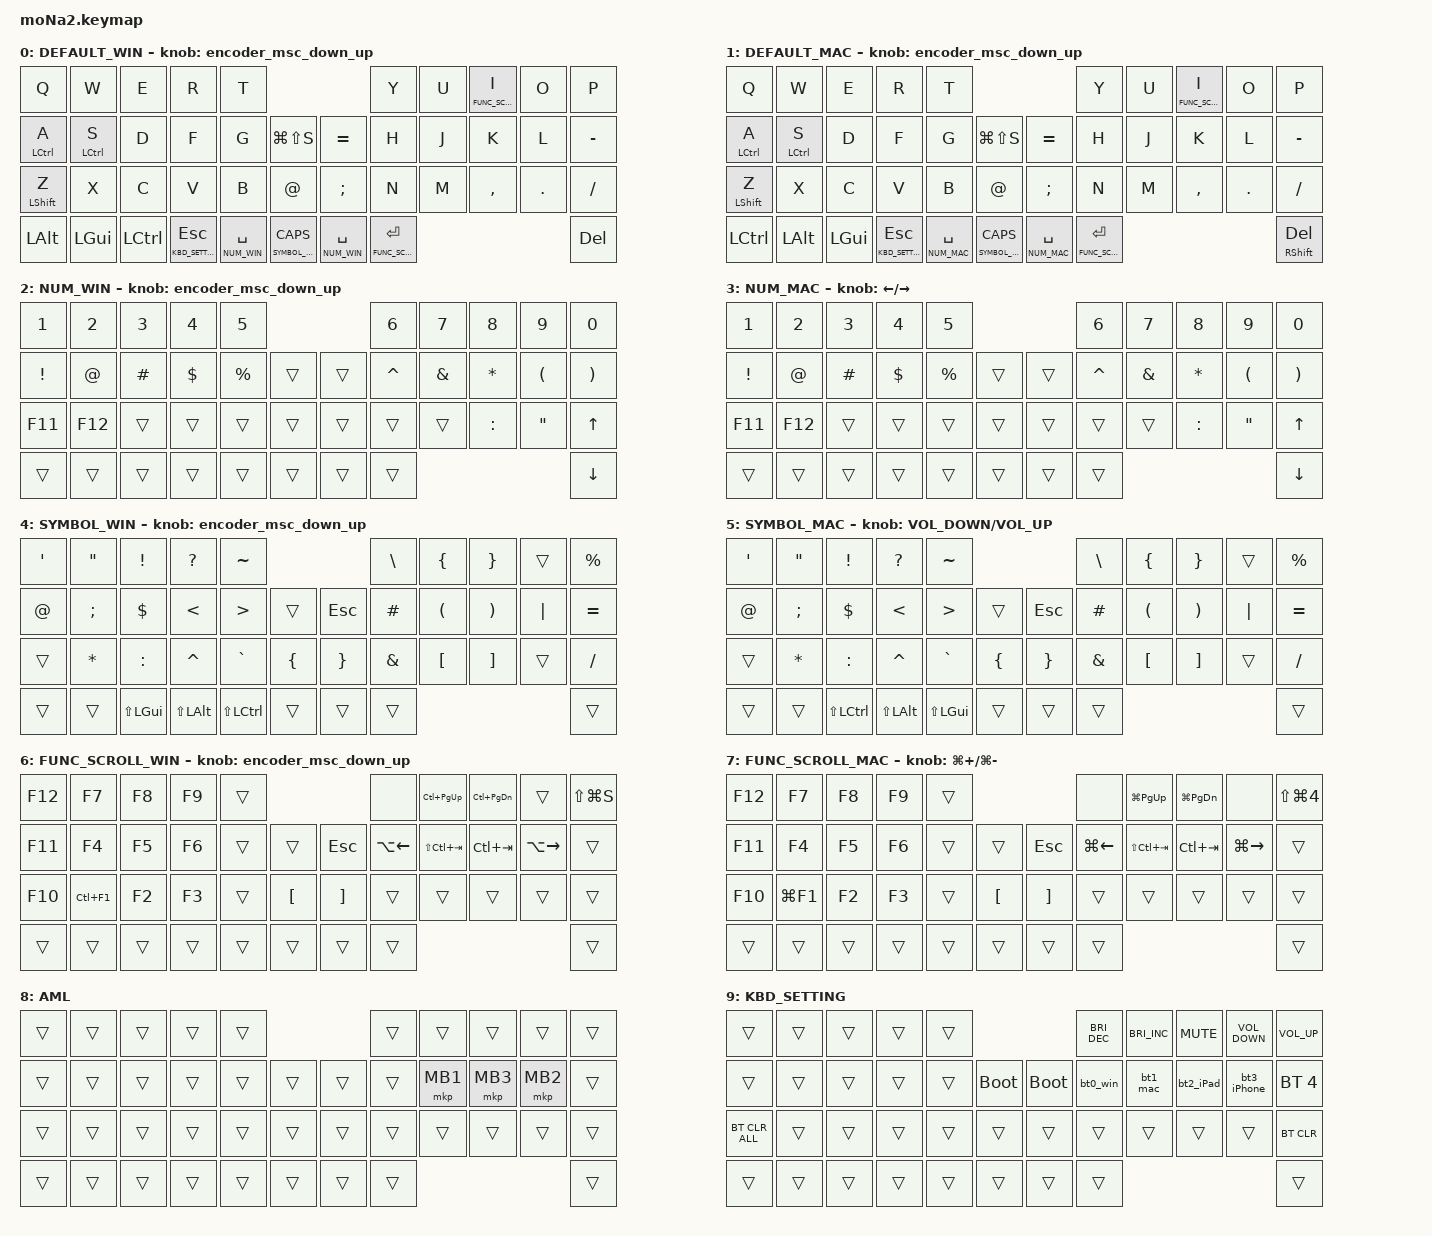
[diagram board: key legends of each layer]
#include <behaviors.dtsi>
#include <dt-bindings/zmk/bt.h>
#include <dt-bindings/zmk/keys.h>
#include <dt-bindings/zmk/pointing.h>

#define DEFAULT_WIN 0
#define DEFAULT_MAC 1
#define NUM_WIN 2
#define NUM_MAC 3
#define SYMBOL_WIN 4
#define SYMBOL_MAC 5
#define FUNC_SCROLL_WIN 6
#define FUNC_SCROLL_MAC 7
#define AML 8
#define KBD_SETTING 9

// Trackball settings
#define ZMK_POINTING_DEFAULT_SCRL_VAL 120

// Mouse behavior settings
&mmv {
    delay-ms = <20>;
    trigger-period-ms = <5>;
    time-to-max-speed-ms = <200>;
};

&msc {
    delay-ms = <3>;
    trigger-period-ms = <3>;
    time-to-max-speed-ms = <200>;
};

&mt {
    flavor = "balanced";
    tapping-term-ms = <180>;
    quick-tap-ms = <180>;
    hold-while-undecided;
};

&lt {
    flavor = "balanced";
    tapping-term-ms = <180>;
    quick-tap-ms = <180>;
    hold-while-undecided;
};

/ {
    // Enhanced combos
    combos {
        compatible = "zmk,combos";
        
        tab {
            bindings = <&kp TAB>;
            key-positions = <11 10>;
        };
        
        alt_tab {
            bindings = <&kp LA(TAB)>;
            key-positions = <11 12>;
        };
        
        enter_combo {
            bindings = <&kp ENTER>;
            key-positions = <20 21>;
        };
        
        equals {
            bindings = <&kp EQUAL>;
            key-positions = <8 7>;
        };
        
        escape {
            bindings = <&kp ESCAPE>;
            key-positions = <1 0>;
        };
        
        shift_z {
            bindings = <&kp LS(Z)>;
            key-positions = <22 23>;
        };
        
        question_mark {
            bindings = <&kp RS(SLASH)>;
            key-positions = <33 32>;
        };
        
        bs {
            bindings = <&kp BSPC>;
            key-positions = <9 8>;
        };
    };

    // Advanced macros for platform switching
    macros {
        bt0_win: bt0 {
            compatible = "zmk,behavior-macro";
            #binding-cells = <0>;
            bindings =
                <&tog_off 1>,
                <&macro_wait_time 200>,
                <&bt BT_SEL 0 &bt BT_DISC 1 &bt BT_DISC 2 &bt BT_DISC 3 &bt BT_DISC 4>;
            label = "BT0";
        };

        bt1_mac: bt1 {
            compatible = "zmk,behavior-macro";
            #binding-cells = <0>;
            bindings =
                <&tog_off 1>,
                <&macro_wait_time 200>,
                <&bt BT_SEL 1 &bt BT_DISC 0 &bt BT_DISC 2 &bt BT_DISC 3 &bt BT_DISC 4>,
                <&macro_wait_time 500>,
                <&tog_on 1>;
            label = "BT1";
        };

        bt2_iPad: bt2_iPad {
            compatible = "zmk,behavior-macro";
            #binding-cells = <0>;
            bindings =
                <&tog_off 1>,
                <&macro_wait_time 200>,
                <&bt BT_SEL 2 &bt BT_DISC 0 &bt BT_DISC 1 &bt BT_DISC 3 &bt BT_DISC 4>,
                <&macro_wait_time 500>,
                <&tog_on 1>;
            label = "BT2_IPAD";
        };

        bt3_iPhone: bt3_iPhone {
            compatible = "zmk,behavior-macro";
            #binding-cells = <0>;
            bindings =
                <&tog_off 1>,
                <&macro_wait_time 200>,
                <&bt BT_SEL 3 &bt BT_DISC 0 &bt BT_DISC 1 &bt BT_DISC 2 &bt BT_DISC 4>,
                <&macro_wait_time 500>,
                <&tog_on 1>;
            label = "BT3_IPHONE";
        };

        // AML exit macros
        exit_AML: exit_AML {
            compatible = "zmk,behavior-macro";
            wait-ms = <0>;
            tap-ms = <0>;
            #binding-cells = <0>;
            bindings = <&tog_off AML>;
            label = "exit_AML";
        };

        kp_exit_AML: kp_exit_AML {
            compatible = "zmk,behavior-macro-one-param";
            wait-ms = <0>;
            tap-ms = <0>;
            #binding-cells = <1>;
            bindings = <&macro_param_1to1 &kp MACRO_PLACEHOLDER &exit_AML>;
            label = "KP_exit_AML";
        };

        // AML scroll layer macros
        to_scroll_layer_win: to_scroll_layer_win {
            compatible = "zmk,behavior-macro";
            #binding-cells = <0>;
            bindings =
                <&to FUNC_SCROLL_WIN>,
                <&macro_press>,
                <&mo FUNC_SCROLL_WIN>,
                <&macro_pause_for_release>,
                <&macro_release>,
                <&mo FUNC_SCROLL_WIN>;
            label = "TO_SCROLL_LAYER_WIN";
        };

        to_scroll_layer_mac: to_scroll_layer_mac {
            compatible = "zmk,behavior-macro";
            #binding-cells = <0>;
            bindings =
                <&to FUNC_SCROLL_MAC>,
                <&macro_press>,
                <&mo FUNC_SCROLL_MAC>,
                <&macro_pause_for_release>,
                <&macro_release>,
                <&mo FUNC_SCROLL_MAC>;
            label = "TO_SCROLL_LAYER_MAC";
        };
    };

    // Advanced behaviors
    behaviors {
        // Platform switching toggles
        tog_on: toggle_layer_on_only {
            compatible = "zmk,behavior-toggle-layer";
            #binding-cells = <1>;
            display-name = "Toggle Layer On";
            toggle-mode = "on";
        };

        tog_off: toggle_layer_off_only {
            compatible = "zmk,behavior-toggle-layer";
            #binding-cells = <1>;
            display-name = "Toggle Layer Off";
            toggle-mode = "off";
        };

        // AML exit behavior for tap
        mt_exit_AML_on_tap: mt_exit_AML_on_tap {
            compatible = "zmk,behavior-hold-tap";
            label = "MT_exit_AML_ON_TAP";
            bindings = <&kp>, <&kp_exit_AML>;
            #binding-cells = <2>;
            tapping-term-ms = <200>;
            flavor = "balanced";
            quick-tap-ms = <200>;
        };

        // Enhanced encoder behaviors for scrolling
        encoder_msc_up_down: encoder_msc_up_down {
            compatible = "zmk,behavior-sensor-rotate";
            label = "ENCODER_MSC_UP_DOWN";
            #sensor-binding-cells = <0>;
            bindings = <&msc SCRL_UP>, <&msc SCRL_DOWN>;
            tap-ms = <20>;
        };

        encoder_msc_down_up: encoder_msc_down_up {
            compatible = "zmk,behavior-sensor-rotate";
            label = "ENCODER_MSC_DOWN_UP";
            #sensor-binding-cells = <0>;
            bindings = <&msc SCRL_DOWN>, <&msc SCRL_UP>;
            tap-ms = <20>;
        };

        // Space and shift behavior
        sands: space_and_shift {
            compatible = "zmk,behavior-hold-tap";
            label = "SPACE_AND_SHIFT";
            #binding-cells = <2>;
            flavor = "tap-unless-interrupted";
            tapping-term-ms = <220>;
            quick-tap-ms = <125>;
            global-quick-tap;
            bindings = <&kp>, <&kp>;
        };

        // Layer tap behaviors
        lt_to_layer_0: lt_to_layer_0 {
            compatible = "zmk,behavior-hold-tap";
            label = "LAYER_TAP_TO_0";
            bindings = <&mo>, <&to>;
            #binding-cells = <2>;
            tapping-term-ms = <200>;
        };

        // Sticky layer with space
        space_sl2: space_sl2 {
            compatible = "zmk,behavior-hold-tap";
            label = "SPACE_STICKY_LAYER_2";
            #binding-cells = <2>;
            tapping-term-ms = <200>;
            quick-tap-ms = <0>;
            flavor = "tap-preferred";
            bindings = <&sl>, <&kp>;
        };
    };

    keymap {
        compatible = "zmk,keymap";

        DEFAULT_WIN {
            bindings = <
&kp Q             &kp W         &kp E      &kp R                   &kp T                                                                            &kp Y                      &kp U  &lt FUNC_SCROLL_WIN I  &kp O    &kp P
&mt LCTRL A       &mt LCTRL S   &kp D      &kp F                   &kp G                     &kp LG(LS(S))                       &kp EQUAL          &kp H                      &kp J  &kp K                  &kp L    &kp MINUS
&mt LEFT_SHIFT Z  &kp X         &kp C      &kp V                   &kp B                     &kp AT                              &kp SEMI           &kp N                      &kp M  &kp COMMA              &kp DOT  &kp SLASH
&kp LALT          &kp LEFT_GUI  &kp LCTRL  &lt KBD_SETTING ESCAPE  &space_sl2 NUM_WIN SPACE  &lt_to_layer_0 SYMBOL_WIN CAPS      &lt NUM_WIN SPACE  &lt FUNC_SCROLL_WIN ENTER                                         &kp DEL
            >;
            sensor-bindings = <&encoder_msc_down_up>;
        };

        DEFAULT_MAC {
            bindings = <
&kp Q             &kp W        &kp E         &kp R                   &kp T                                                                            &kp Y                      &kp U  &lt FUNC_SCROLL_MAC I  &kp O    &kp P
&mt LCTRL A       &mt LCTRL S  &kp D         &kp F                   &kp G                     &kp LG(LS(S))                       &kp EQUAL          &kp H                      &kp J  &kp K                  &kp L    &kp MINUS
&mt LEFT_SHIFT Z  &kp X        &kp C         &kp V                   &kp B                     &kp AT                              &kp SEMI           &kp N                      &kp M  &kp COMMA              &kp DOT  &kp SLASH
&kp LCTRL         &kp LALT     &kp LEFT_GUI  &lt KBD_SETTING ESCAPE  &space_sl2 NUM_MAC SPACE  &lt_to_layer_0 SYMBOL_MAC CAPS      &lt NUM_MAC SPACE  &lt FUNC_SCROLL_MAC ENTER                                         &mt RIGHT_SHIFT DELETE
            >;
            sensor-bindings = <&encoder_msc_down_up>;
        };

        NUM_WIN {
            bindings = <
&kp NUMBER_1  &kp NUMBER_2  &kp NUMBER_3  &kp NUMBER_4  &kp N5                         &kp NUMBER_6  &kp NUMBER_7  &kp N8     &kp NUMBER_9  &kp NUMBER_0
&kp EXCL      &kp AT        &kp POUND     &kp DLLR      &kp PRCNT  &trans      &trans  &kp CARET     &kp AMPS      &kp STAR   &kp LPAR      &kp RPAR
&kp F11       &kp F12       &trans        &trans        &trans     &trans      &trans  &trans        &trans        &kp COLON  &kp DQT       &kp UP_ARROW
&trans        &trans        &trans        &trans        &trans     &trans      &trans  &trans                                               &kp DOWN_ARROW
            >;
            sensor-bindings = <&encoder_msc_down_up>;
        };

        NUM_MAC {
            bindings = <
&kp NUMBER_1  &kp NUMBER_2  &kp NUMBER_3  &kp NUMBER_4  &kp N5                         &kp NUMBER_6  &kp NUMBER_7  &kp N8     &kp NUMBER_9  &kp NUMBER_0
&kp EXCL      &kp AT        &kp POUND     &kp DLLR      &kp PRCNT  &trans      &trans  &kp CARET     &kp AMPS      &kp STAR   &kp LPAR      &kp RPAR
&kp F11       &kp F12       &trans        &trans        &trans     &trans      &trans  &trans        &trans        &kp COLON  &kp DQT       &kp UP_ARROW
&trans        &trans        &trans        &trans        &trans     &trans      &trans  &trans                                               &kp DOWN_ARROW
            >;
            sensor-bindings = <&inc_dec_kp LEFT RIGHT>;
        };

        SYMBOL_WIN {
            bindings = <
&kp SQT      &kp DOUBLE_QUOTES  &kp EXCLAMATION   &kp QUESTION      &kp TILDE                                              &kp BACKSLASH  &kp LEFT_BRACE        &kp RIGHT_BRACE        &trans    &kp PERCENT
&kp AT_SIGN  &kp SEMICOLON      &kp DOLLAR        &kp LESS_THAN     &kp GREATER_THAN  &trans              &kp ESCAPE       &kp HASH       &kp LEFT_PARENTHESIS  &kp RIGHT_PARENTHESIS  &kp PIPE  &kp EQUAL
&trans       &kp ASTERISK       &kp COLON         &kp CARET         &kp GRAVE         &kp LEFT_BRACE      &kp RIGHT_BRACE  &kp AMPERSAND  &kp LEFT_BRACKET      &kp RIGHT_BRACKET      &trans    &kp SLASH
&trans       &trans             &kp LS(LEFT_GUI)  &kp LS(LEFT_ALT)  &kp LS(LCTRL)     &trans              &trans           &trans                                                                &trans
            >;
            sensor-bindings = <&encoder_msc_down_up>;
        };

        SYMBOL_MAC {
            bindings = <
&kp SQT      &kp DOUBLE_QUOTES  &kp EXCLAMATION  &kp QUESTION      &kp TILDE                                              &kp BACKSLASH  &kp LEFT_BRACE        &kp RIGHT_BRACE        &trans    &kp PERCENT
&kp AT_SIGN  &kp SEMICOLON      &kp DOLLAR       &kp LESS_THAN     &kp GREATER_THAN  &trans              &kp ESCAPE       &kp HASH       &kp LEFT_PARENTHESIS  &kp RIGHT_PARENTHESIS  &kp PIPE  &kp EQUAL
&trans       &kp ASTERISK       &kp COLON        &kp CARET         &kp GRAVE         &kp LEFT_BRACE      &kp RIGHT_BRACE  &kp AMPERSAND  &kp LEFT_BRACKET      &kp RIGHT_BRACKET      &trans    &kp SLASH
&trans       &trans             &kp LS(LCTRL)    &kp LS(LEFT_ALT)  &kp LS(LEFT_GUI)  &trans              &trans           &trans                                                                &trans
            >;
            sensor-bindings = <&inc_dec_kp C_VOLUME_DOWN C_VOLUME_UP>;
        };

        FUNC_SCROLL_WIN {
            bindings = <
&kp F12  &kp F7      &kp F8  &kp F9  &trans                                           &none         &kp LC(PAGE_UP)  &kp LC(PAGE_DOWN)  &trans         &kp LS(LG(S))
&kp F11  &kp F4      &kp F5  &kp F6  &trans  &trans                &kp ESCAPE         &kp LA(LEFT)  &kp LS(LC(TAB))  &kp LC(TAB)        &kp LA(RIGHT)  &trans
&kp F10  &kp LC(F1)  &kp F2  &kp F3  &trans  &kp LEFT_BRACKET      &kp RIGHT_BRACKET  &trans        &trans           &trans             &trans         &trans
&trans   &trans      &trans  &trans  &trans  &trans                &trans             &trans                                                           &trans
            >;
            sensor-bindings = <&encoder_msc_down_up>;
        };

        FUNC_SCROLL_MAC {
            bindings = <
&kp F12  &kp F7      &kp F8  &kp F9  &trans                                           &none         &kp LG(PAGE_UP)  &kp LG(PAGE_DOWN)  &none          &kp LS(LG(NUMBER_4))
&kp F11  &kp F4      &kp F5  &kp F6  &trans  &trans                &kp ESCAPE         &kp LG(LEFT)  &kp LS(LC(TAB))  &kp LC(TAB)        &kp LG(RIGHT)  &trans
&kp F10  &kp LG(F1)  &kp F2  &kp F3  &trans  &kp LEFT_BRACKET      &kp RIGHT_BRACKET  &trans        &trans           &trans             &trans         &trans
&trans   &trans      &trans  &trans  &trans  &trans                &trans             &trans                                                           &trans
            >;
            sensor-bindings = <&inc_dec_kp LG(PLUS) LG(MINUS)>;
        };

        AML {
            bindings = <
&trans  &trans  &trans  &trans  &trans                      &trans  &trans    &trans    &trans    &trans
&trans  &trans  &trans  &trans  &trans  &trans      &trans  &trans  &mkp MB1  &mkp MB3  &mkp MB2  &trans
&trans  &trans  &trans  &trans  &trans  &trans      &trans  &trans  &trans    &trans    &trans    &trans
&trans  &trans  &trans  &trans  &trans  &trans      &trans  &trans                                &trans
            >;
        };

        KBD_SETTING {
            bindings = <
&trans          &trans  &trans  &trans  &trans                                &kp C_BRIGHTNESS_DEC  &kp C_BRIGHTNESS_INC  &kp K_MUTE     &kp C_VOLUME_DOWN  &kp C_VOLUME_UP
&trans          &trans  &trans  &trans  &trans  &bootloader      &bootloader  &bt0_win              &bt1_mac              &bt2_iPad      &bt3_iPhone        &bt BT_SEL 4
&bt BT_CLR_ALL  &trans  &trans  &trans  &trans  &trans           &trans       &trans                &trans                &trans         &trans             &bt BT_CLR
&trans          &trans  &trans  &trans  &trans  &trans           &trans       &trans                                                                         &trans
            >;
        };
    };
};
